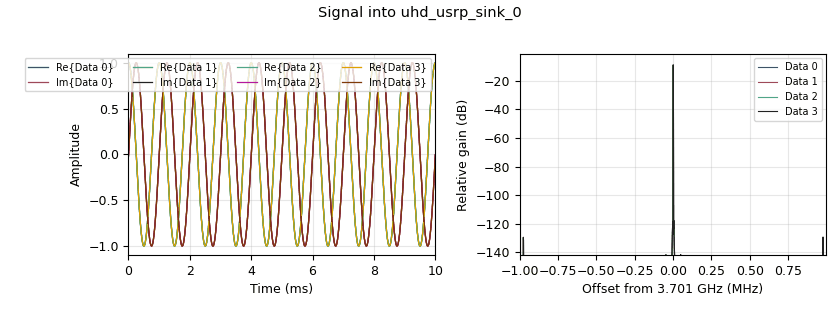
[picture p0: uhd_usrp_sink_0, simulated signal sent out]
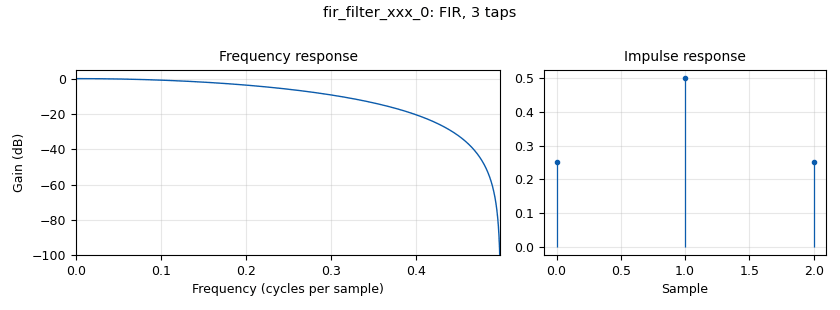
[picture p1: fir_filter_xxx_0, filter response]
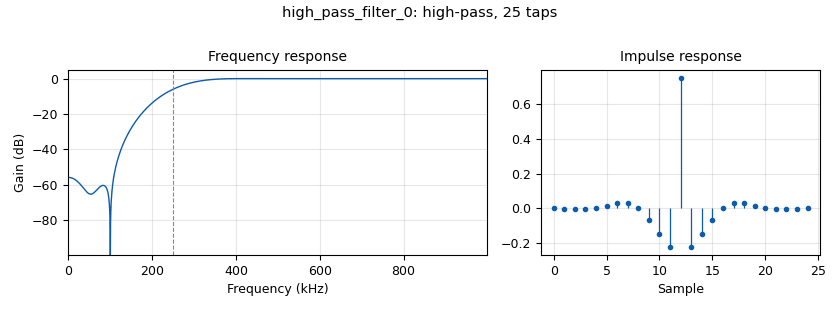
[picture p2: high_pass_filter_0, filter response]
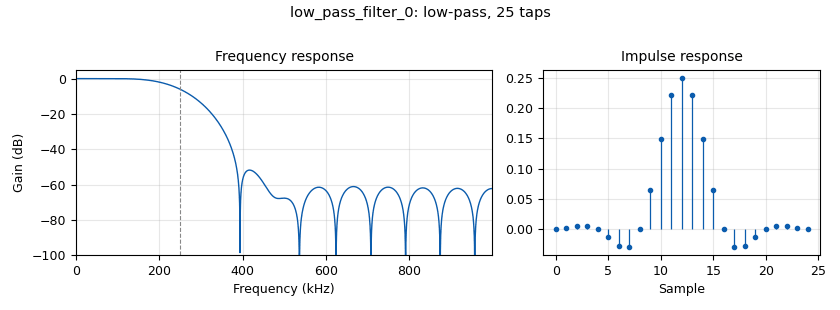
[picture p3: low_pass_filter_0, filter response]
<?xml version='1.0' encoding='utf-8'?>
<?grc format='1' created='3.7.10'?>
<flow_graph>
<block>
<key>options</key>
<param><key>id</key><value>top_block</value></param>
<param><key>generate_options</key><value>qt_gui</value></param>
</block>
<block>
<key>variable_qtgui_range</key>
<param><key>id</key><value>range_offset_01</value></param>
<param><key>value</key><value>0.9684</value></param>
<param><key>label</key><value>Offset 01</value></param>
<param><key>orient</key><value>Qt.Horizontal</value></param>
<param><key>start</key><value>-np.pi</value></param>
<param><key>step</key><value>0.001</value></param>
<param><key>stop</key><value>np.pi</value></param>
</block>
<block>
<key>variable_qtgui_range</key>
<param><key>id</key><value>range_offset_01_tx</value></param>
<param><key>value</key><value>0.9684</value></param>
<param><key>label</key><value>Offset 01</value></param>
<param><key>orient</key><value>Qt.Horizontal</value></param>
<param><key>start</key><value>-np.pi</value></param>
<param><key>step</key><value>0.001</value></param>
<param><key>stop</key><value>np.pi</value></param>
</block>
<block>
<key>variable_qtgui_range</key>
<param><key>id</key><value>range_offset_02</value></param>
<param><key>value</key><value>-1.0516</value></param>
<param><key>label</key><value>Offset 02</value></param>
<param><key>orient</key><value>Qt.Horizontal</value></param>
<param><key>start</key><value>-np.pi</value></param>
<param><key>step</key><value>0.001</value></param>
<param><key>stop</key><value>np.pi</value></param>
</block>
<block>
<key>variable_qtgui_range</key>
<param><key>id</key><value>range_offset_02_tx</value></param>
<param><key>value</key><value>-1.0516</value></param>
<param><key>label</key><value>Offset 02</value></param>
<param><key>orient</key><value>Qt.Horizontal</value></param>
<param><key>start</key><value>-np.pi</value></param>
<param><key>step</key><value>0.001</value></param>
<param><key>stop</key><value>np.pi</value></param>
</block>
<block>
<key>variable_qtgui_range</key>
<param><key>id</key><value>range_offset_03</value></param>
<param><key>value</key><value>-0.8816</value></param>
<param><key>label</key><value>Offset 03</value></param>
<param><key>orient</key><value>Qt.Horizontal</value></param>
<param><key>start</key><value>-np.pi</value></param>
<param><key>step</key><value>0.001</value></param>
<param><key>stop</key><value>np.pi</value></param>
</block>
<block>
<key>variable_qtgui_range</key>
<param><key>id</key><value>range_offset_03_tx</value></param>
<param><key>value</key><value>-0.8816</value></param>
<param><key>label</key><value>Offset 03</value></param>
<param><key>orient</key><value>Qt.Horizontal</value></param>
<param><key>start</key><value>-np.pi</value></param>
<param><key>step</key><value>0.001</value></param>
<param><key>stop</key><value>np.pi</value></param>
</block>
<block>
<key>variable</key>
<param><key>id</key><value>samp_rate</value></param>
<param><key>value</key><value>2e6</value></param>
</block>
<block>
<key>analog_sig_source_x</key>
<param><key>id</key><value>analog_sig_source_x_0</value></param>
<param><key>amp</key><value>1</value></param>
<param><key>freq</key><value>1000</value></param>
<param><key>offset</key><value>0</value></param>
<param><key>type</key><value>complex</value></param>
<param><key>samp_rate</key><value>samp_rate</value></param>
<param><key>waveform</key><value>analog.GR_COS_WAVE</value></param>
</block>
<block>
<key>blocks_add_const_vxx</key>
<param><key>id</key><value>blocks_add_const_vxx_0</value></param>
<param><key>const</key><value>range_offset_01</value></param>
<param><key>type</key><value>float</value></param>
</block>
<block>
<key>blocks_add_const_vxx</key>
<param><key>id</key><value>blocks_add_const_vxx_0_0</value></param>
<param><key>const</key><value>range_offset_01_tx</value></param>
<param><key>type</key><value>float</value></param>
</block>
<block>
<key>blocks_add_const_vxx</key>
<param><key>id</key><value>blocks_add_const_vxx_0_1</value></param>
<param><key>const</key><value>range_offset_03</value></param>
<param><key>type</key><value>float</value></param>
</block>
<block>
<key>blocks_add_const_vxx</key>
<param><key>id</key><value>blocks_add_const_vxx_0_1_0</value></param>
<param><key>const</key><value>range_offset_03_tx</value></param>
<param><key>type</key><value>float</value></param>
</block>
<block>
<key>blocks_add_const_vxx</key>
<param><key>id</key><value>blocks_add_const_vxx_0_2</value></param>
<param><key>const</key><value>range_offset_02</value></param>
<param><key>type</key><value>float</value></param>
</block>
<block>
<key>blocks_add_const_vxx</key>
<param><key>id</key><value>blocks_add_const_vxx_0_2_0</value></param>
<param><key>const</key><value>range_offset_02_tx</value></param>
<param><key>type</key><value>float</value></param>
</block>
<block>
<key>blocks_complex_to_arg</key>
<param><key>id</key><value>blocks_complex_to_arg_0</value></param>
</block>
<block>
<key>blocks_complex_to_arg</key>
<param><key>id</key><value>blocks_complex_to_arg_0_0</value></param>
</block>
<block>
<key>blocks_complex_to_arg</key>
<param><key>id</key><value>blocks_complex_to_arg_0_0_0</value></param>
</block>
<block>
<key>blocks_complex_to_arg</key>
<param><key>id</key><value>blocks_complex_to_arg_0_1</value></param>
</block>
<block>
<key>blocks_complex_to_arg</key>
<param><key>id</key><value>blocks_complex_to_arg_0_1_0</value></param>
</block>
<block>
<key>blocks_complex_to_arg</key>
<param><key>id</key><value>blocks_complex_to_arg_0_2</value></param>
</block>
<block>
<key>blocks_divide_xx</key>
<param><key>id</key><value>blocks_divide_xx_0</value></param>
<param><key>type</key><value>complex</value></param>
</block>
<block>
<key>blocks_divide_xx</key>
<param><key>id</key><value>blocks_divide_xx_0_0</value></param>
<param><key>type</key><value>complex</value></param>
</block>
<block>
<key>blocks_divide_xx</key>
<param><key>id</key><value>blocks_divide_xx_0_0_0</value></param>
<param><key>type</key><value>complex</value></param>
</block>
<block>
<key>blocks_divide_xx</key>
<param><key>id</key><value>blocks_divide_xx_0_1</value></param>
<param><key>type</key><value>complex</value></param>
</block>
<block>
<key>blocks_divide_xx</key>
<param><key>id</key><value>blocks_divide_xx_0_1_0</value></param>
<param><key>type</key><value>complex</value></param>
</block>
<block>
<key>blocks_divide_xx</key>
<param><key>id</key><value>blocks_divide_xx_0_2</value></param>
<param><key>type</key><value>complex</value></param>
</block>
<block>
<key>fir_filter_xxx</key>
<param><key>id</key><value>fir_filter_xxx_0</value></param>
<param><key>decim</key><value>1</value></param>
<param><key>taps</key><value>0.25, 0.5, 0.25</value></param>
<param><key>type</key><value>fff</value></param>
</block>
<block>
<key>fir_filter_xxx</key>
<param><key>id</key><value>fir_filter_xxx_0_0</value></param>
<param><key>decim</key><value>1</value></param>
<param><key>taps</key><value>0.25, 0.5, 0.25</value></param>
<param><key>type</key><value>fff</value></param>
</block>
<block>
<key>fir_filter_xxx</key>
<param><key>id</key><value>fir_filter_xxx_0_0_0</value></param>
<param><key>decim</key><value>1</value></param>
<param><key>taps</key><value>0.25, 0.5, 0.25</value></param>
<param><key>type</key><value>fff</value></param>
</block>
<block>
<key>fir_filter_xxx</key>
<param><key>id</key><value>fir_filter_xxx_0_1</value></param>
<param><key>decim</key><value>1</value></param>
<param><key>taps</key><value>0.25, 0.5, 0.25</value></param>
<param><key>type</key><value>fff</value></param>
</block>
<block>
<key>fir_filter_xxx</key>
<param><key>id</key><value>fir_filter_xxx_0_1_0</value></param>
<param><key>decim</key><value>1</value></param>
<param><key>taps</key><value>0.25, 0.5, 0.25</value></param>
<param><key>type</key><value>fff</value></param>
</block>
<block>
<key>fir_filter_xxx</key>
<param><key>id</key><value>fir_filter_xxx_0_2</value></param>
<param><key>decim</key><value>1</value></param>
<param><key>taps</key><value>0.25, 0.5, 0.25</value></param>
<param><key>type</key><value>fff</value></param>
</block>
<block>
<key>high_pass_filter</key>
<param><key>id</key><value>high_pass_filter_0</value></param>
<param><key>cutoff_freq</key><value>250e3</value></param>
<param><key>decim</key><value>1</value></param>
<param><key>type</key><value>fir_filter_ccf</value></param>
<param><key>gain</key><value>1</value></param>
<param><key>samp_rate</key><value>samp_rate</value></param>
<param><key>width</key><value>200e3</value></param>
<param><key>win</key><value>firdes.WIN_HAMMING</value></param>
</block>
<block>
<key>high_pass_filter</key>
<param><key>id</key><value>high_pass_filter_0_0</value></param>
<param><key>cutoff_freq</key><value>250e3</value></param>
<param><key>decim</key><value>1</value></param>
<param><key>type</key><value>fir_filter_ccf</value></param>
<param><key>gain</key><value>1</value></param>
<param><key>samp_rate</key><value>samp_rate</value></param>
<param><key>width</key><value>200e3</value></param>
<param><key>win</key><value>firdes.WIN_HAMMING</value></param>
</block>
<block>
<key>high_pass_filter</key>
<param><key>id</key><value>high_pass_filter_0_1</value></param>
<param><key>cutoff_freq</key><value>250e3</value></param>
<param><key>decim</key><value>1</value></param>
<param><key>type</key><value>fir_filter_ccf</value></param>
<param><key>gain</key><value>1</value></param>
<param><key>samp_rate</key><value>samp_rate</value></param>
<param><key>width</key><value>200e3</value></param>
<param><key>win</key><value>firdes.WIN_HAMMING</value></param>
</block>
<block>
<key>high_pass_filter</key>
<param><key>id</key><value>high_pass_filter_0_1_0</value></param>
<param><key>cutoff_freq</key><value>250e3</value></param>
<param><key>decim</key><value>1</value></param>
<param><key>type</key><value>fir_filter_ccf</value></param>
<param><key>gain</key><value>1</value></param>
<param><key>samp_rate</key><value>samp_rate</value></param>
<param><key>width</key><value>200e3</value></param>
<param><key>win</key><value>firdes.WIN_HAMMING</value></param>
</block>
<block>
<key>import</key>
<param><key>id</key><value>import_0</value></param>
<param><key>import</key><value>import numpy as np</value></param>
</block>
<block>
<key>low_pass_filter</key>
<param><key>id</key><value>low_pass_filter_0</value></param>
<param><key>cutoff_freq</key><value>250e3</value></param>
<param><key>decim</key><value>1</value></param>
<param><key>type</key><value>fir_filter_ccf</value></param>
<param><key>gain</key><value>1</value></param>
<param><key>samp_rate</key><value>samp_rate</value></param>
<param><key>width</key><value>200e3</value></param>
<param><key>win</key><value>firdes.WIN_HAMMING</value></param>
</block>
<block>
<key>low_pass_filter</key>
<param><key>id</key><value>low_pass_filter_0_0</value></param>
<param><key>cutoff_freq</key><value>250e3</value></param>
<param><key>decim</key><value>1</value></param>
<param><key>type</key><value>fir_filter_ccf</value></param>
<param><key>gain</key><value>1</value></param>
<param><key>samp_rate</key><value>samp_rate</value></param>
<param><key>width</key><value>200e3</value></param>
<param><key>win</key><value>firdes.WIN_HAMMING</value></param>
</block>
<block>
<key>low_pass_filter</key>
<param><key>id</key><value>low_pass_filter_0_1</value></param>
<param><key>cutoff_freq</key><value>250e3</value></param>
<param><key>decim</key><value>1</value></param>
<param><key>type</key><value>fir_filter_ccf</value></param>
<param><key>gain</key><value>1</value></param>
<param><key>samp_rate</key><value>samp_rate</value></param>
<param><key>width</key><value>200e3</value></param>
<param><key>win</key><value>firdes.WIN_HAMMING</value></param>
</block>
<block>
<key>low_pass_filter</key>
<param><key>id</key><value>low_pass_filter_0_2</value></param>
<param><key>cutoff_freq</key><value>250e3</value></param>
<param><key>decim</key><value>1</value></param>
<param><key>type</key><value>fir_filter_ccf</value></param>
<param><key>gain</key><value>1</value></param>
<param><key>samp_rate</key><value>samp_rate</value></param>
<param><key>width</key><value>200e3</value></param>
<param><key>win</key><value>firdes.WIN_HAMMING</value></param>
</block>
<block>
<key>qtgui_time_sink_x</key>
<param><key>id</key><value>qtgui_time_sink_x_0</value></param>
<param><key>ctrlpanel</key><value>True</value></param>
<param><key>grid</key><value>True</value></param>
<param><key>color1</key><value>"red"</value></param>
<param><key>label1</key><value>"01"</value></param>
<param><key>marker1</key><value>0</value></param>
<param><key>color2</key><value>"green"</value></param>
<param><key>label2</key><value>"02"</value></param>
<param><key>marker2</key><value>0</value></param>
<param><key>color3</key><value>"blue"</value></param>
<param><key>label3</key><value>"03"</value></param>
<param><key>marker3</key><value>0</value></param>
<param><key>nconnections</key><value>3</value></param>
<param><key>size</key><value>4096</value></param>
<param><key>srate</key><value>samp_rate</value></param>
<param><key>type</key><value>float</value></param>
</block>
<block>
<key>qtgui_time_sink_x</key>
<param><key>id</key><value>qtgui_time_sink_x_0_0</value></param>
<param><key>ctrlpanel</key><value>True</value></param>
<param><key>grid</key><value>True</value></param>
<param><key>color1</key><value>"red"</value></param>
<param><key>label1</key><value>"01"</value></param>
<param><key>marker1</key><value>0</value></param>
<param><key>color2</key><value>"green"</value></param>
<param><key>label2</key><value>"02"</value></param>
<param><key>marker2</key><value>0</value></param>
<param><key>color3</key><value>"blue"</value></param>
<param><key>label3</key><value>"03"</value></param>
<param><key>marker3</key><value>0</value></param>
<param><key>nconnections</key><value>3</value></param>
<param><key>size</key><value>4096</value></param>
<param><key>srate</key><value>samp_rate</value></param>
<param><key>type</key><value>float</value></param>
</block>
<block>
<key>uhd_usrp_sink</key>
<param><key>id</key><value>uhd_usrp_sink_0</value></param>
<param><key>ant0</key><value></value></param>
<param><key>center_freq0</key><value>3.701e9</value></param>
<param><key>norm_gain0</key><value>False</value></param>
<param><key>gain0</key><value>15</value></param>
<param><key>ant1</key><value></value></param>
<param><key>center_freq1</key><value>3.701e9</value></param>
<param><key>norm_gain1</key><value>False</value></param>
<param><key>gain1</key><value>15</value></param>
<param><key>ant2</key><value></value></param>
<param><key>center_freq2</key><value>3.701e9</value></param>
<param><key>norm_gain2</key><value>False</value></param>
<param><key>gain2</key><value>15</value></param>
<param><key>ant3</key><value></value></param>
<param><key>center_freq3</key><value>3.701e9</value></param>
<param><key>norm_gain3</key><value>False</value></param>
<param><key>gain3</key><value>15</value></param>
<param><key>clock_rate</key><value>200e6</value></param>
<param><key>dev_addr</key><value>"addr0=192.168.10.2, addr1=192.168.10.3"</value></param>
<param><key>dev_args</key><value>""</value></param>
<param><key>type</key><value>fc32</value></param>
<param><key>clock_source0</key><value>external</value></param>
<param><key>sd_spec0</key><value>A:0 B:0</value></param>
<param><key>time_source0</key><value>external</value></param>
<param><key>clock_source1</key><value>external</value></param>
<param><key>sd_spec1</key><value>A:0 B:0</value></param>
<param><key>time_source1</key><value>external</value></param>
<param><key>nchan</key><value>4</value></param>
<param><key>num_mboards</key><value>2</value></param>
<param><key>samp_rate</key><value>samp_rate</value></param>
<param><key>hide_cmd_port</key><value>False</value></param>
<param><key>hide_lo_controls</key><value>True</value></param>
<param><key>sync</key><value>sync</value></param>
<param><key>len_tag_name</key><value></value></param>
</block>
<block>
<key>uhd_usrp_source</key>
<param><key>id</key><value>uhd_usrp_source_0</value></param>
<param><key>ant0</key><value></value></param>
<param><key>center_freq0</key><value>3.7e9</value></param>
<param><key>dc_offs_enb0</key><value>""</value></param>
<param><key>iq_imbal_enb0</key><value>""</value></param>
<param><key>norm_gain0</key><value>False</value></param>
<param><key>gain0</key><value>15</value></param>
<param><key>ant1</key><value></value></param>
<param><key>center_freq1</key><value>3.7e9</value></param>
<param><key>dc_offs_enb1</key><value>""</value></param>
<param><key>iq_imbal_enb1</key><value>""</value></param>
<param><key>norm_gain1</key><value>False</value></param>
<param><key>gain1</key><value>15</value></param>
<param><key>ant2</key><value></value></param>
<param><key>center_freq2</key><value>3.7e9</value></param>
<param><key>dc_offs_enb2</key><value>""</value></param>
<param><key>iq_imbal_enb2</key><value>""</value></param>
<param><key>norm_gain2</key><value>False</value></param>
<param><key>gain2</key><value>15</value></param>
<param><key>ant3</key><value></value></param>
<param><key>center_freq3</key><value>3.7e9</value></param>
<param><key>dc_offs_enb3</key><value>""</value></param>
<param><key>iq_imbal_enb3</key><value>""</value></param>
<param><key>norm_gain3</key><value>False</value></param>
<param><key>gain3</key><value>15</value></param>
<param><key>clock_rate</key><value>200e6</value></param>
<param><key>dev_addr</key><value>"addr0=192.168.10.2, addr1=192.168.10.3"</value></param>
<param><key>clock_source0</key><value>external</value></param>
<param><key>sd_spec0</key><value>"A:0 B:0"</value></param>
<param><key>time_source0</key><value>external</value></param>
<param><key>clock_source1</key><value>external</value></param>
<param><key>sd_spec1</key><value>"A:0 B:0"</value></param>
<param><key>time_source1</key><value>external</value></param>
<param><key>nchan</key><value>4</value></param>
<param><key>num_mboards</key><value>2</value></param>
<param><key>type</key><value>fc32</value></param>
<param><key>samp_rate</key><value>samp_rate</value></param>
<param><key>hide_cmd_port</key><value>False</value></param>
<param><key>hide_lo_controls</key><value>True</value></param>
<param><key>sync</key><value>sync</value></param>
</block>
<connection><source_block_id>analog_sig_source_x_0</source_block_id><sink_block_id>uhd_usrp_sink_0</sink_block_id><source_key>0</source_key><sink_key>0</sink_key></connection>
<connection><source_block_id>analog_sig_source_x_0</source_block_id><sink_block_id>uhd_usrp_sink_0</sink_block_id><source_key>0</source_key><sink_key>1</sink_key></connection>
<connection><source_block_id>analog_sig_source_x_0</source_block_id><sink_block_id>uhd_usrp_sink_0</sink_block_id><source_key>0</source_key><sink_key>2</sink_key></connection>
<connection><source_block_id>analog_sig_source_x_0</source_block_id><sink_block_id>uhd_usrp_sink_0</sink_block_id><source_key>0</source_key><sink_key>3</sink_key></connection>
<connection><source_block_id>blocks_add_const_vxx_0</source_block_id><sink_block_id>qtgui_time_sink_x_0</sink_block_id><source_key>0</source_key><sink_key>0</sink_key></connection>
<connection><source_block_id>blocks_add_const_vxx_0_0</source_block_id><sink_block_id>qtgui_time_sink_x_0_0</sink_block_id><source_key>0</source_key><sink_key>0</sink_key></connection>
<connection><source_block_id>blocks_add_const_vxx_0_1</source_block_id><sink_block_id>qtgui_time_sink_x_0</sink_block_id><source_key>0</source_key><sink_key>2</sink_key></connection>
<connection><source_block_id>blocks_add_const_vxx_0_1_0</source_block_id><sink_block_id>qtgui_time_sink_x_0_0</sink_block_id><source_key>0</source_key><sink_key>2</sink_key></connection>
<connection><source_block_id>blocks_add_const_vxx_0_2</source_block_id><sink_block_id>qtgui_time_sink_x_0</sink_block_id><source_key>0</source_key><sink_key>1</sink_key></connection>
<connection><source_block_id>blocks_add_const_vxx_0_2_0</source_block_id><sink_block_id>qtgui_time_sink_x_0_0</sink_block_id><source_key>0</source_key><sink_key>1</sink_key></connection>
<connection><source_block_id>blocks_complex_to_arg_0</source_block_id><sink_block_id>fir_filter_xxx_0</sink_block_id><source_key>0</source_key><sink_key>0</sink_key></connection>
<connection><source_block_id>blocks_complex_to_arg_0_0</source_block_id><sink_block_id>fir_filter_xxx_0_1</sink_block_id><source_key>0</source_key><sink_key>0</sink_key></connection>
<connection><source_block_id>blocks_complex_to_arg_0_0_0</source_block_id><sink_block_id>fir_filter_xxx_0_1_0</sink_block_id><source_key>0</source_key><sink_key>0</sink_key></connection>
<connection><source_block_id>blocks_complex_to_arg_0_1</source_block_id><sink_block_id>fir_filter_xxx_0_0</sink_block_id><source_key>0</source_key><sink_key>0</sink_key></connection>
<connection><source_block_id>blocks_complex_to_arg_0_1_0</source_block_id><sink_block_id>fir_filter_xxx_0_0_0</sink_block_id><source_key>0</source_key><sink_key>0</sink_key></connection>
<connection><source_block_id>blocks_complex_to_arg_0_2</source_block_id><sink_block_id>fir_filter_xxx_0_2</sink_block_id><source_key>0</source_key><sink_key>0</sink_key></connection>
<connection><source_block_id>blocks_divide_xx_0</source_block_id><sink_block_id>blocks_complex_to_arg_0</sink_block_id><source_key>0</source_key><sink_key>0</sink_key></connection>
<connection><source_block_id>blocks_divide_xx_0_0</source_block_id><sink_block_id>blocks_complex_to_arg_0_0</sink_block_id><source_key>0</source_key><sink_key>0</sink_key></connection>
<connection><source_block_id>blocks_divide_xx_0_0_0</source_block_id><sink_block_id>blocks_complex_to_arg_0_0_0</sink_block_id><source_key>0</source_key><sink_key>0</sink_key></connection>
<connection><source_block_id>blocks_divide_xx_0_1</source_block_id><sink_block_id>blocks_complex_to_arg_0_1</sink_block_id><source_key>0</source_key><sink_key>0</sink_key></connection>
<connection><source_block_id>blocks_divide_xx_0_1_0</source_block_id><sink_block_id>blocks_complex_to_arg_0_1_0</sink_block_id><source_key>0</source_key><sink_key>0</sink_key></connection>
<connection><source_block_id>blocks_divide_xx_0_2</source_block_id><sink_block_id>blocks_complex_to_arg_0_2</sink_block_id><source_key>0</source_key><sink_key>0</sink_key></connection>
<connection><source_block_id>fir_filter_xxx_0</source_block_id><sink_block_id>blocks_add_const_vxx_0</sink_block_id><source_key>0</source_key><sink_key>0</sink_key></connection>
<connection><source_block_id>fir_filter_xxx_0_0</source_block_id><sink_block_id>blocks_add_const_vxx_0_2</sink_block_id><source_key>0</source_key><sink_key>0</sink_key></connection>
<connection><source_block_id>fir_filter_xxx_0_0_0</source_block_id><sink_block_id>blocks_add_const_vxx_0_2_0</sink_block_id><source_key>0</source_key><sink_key>0</sink_key></connection>
<connection><source_block_id>fir_filter_xxx_0_1</source_block_id><sink_block_id>blocks_add_const_vxx_0_1</sink_block_id><source_key>0</source_key><sink_key>0</sink_key></connection>
<connection><source_block_id>fir_filter_xxx_0_1_0</source_block_id><sink_block_id>blocks_add_const_vxx_0_1_0</sink_block_id><source_key>0</source_key><sink_key>0</sink_key></connection>
<connection><source_block_id>fir_filter_xxx_0_2</source_block_id><sink_block_id>blocks_add_const_vxx_0_0</sink_block_id><source_key>0</source_key><sink_key>0</sink_key></connection>
<connection><source_block_id>high_pass_filter_0</source_block_id><sink_block_id>blocks_divide_xx_0_0_0</sink_block_id><source_key>0</source_key><sink_key>0</sink_key></connection>
<connection><source_block_id>high_pass_filter_0</source_block_id><sink_block_id>blocks_divide_xx_0_1_0</sink_block_id><source_key>0</source_key><sink_key>0</sink_key></connection>
<connection><source_block_id>high_pass_filter_0</source_block_id><sink_block_id>blocks_divide_xx_0_2</sink_block_id><source_key>0</source_key><sink_key>0</sink_key></connection>
<connection><source_block_id>high_pass_filter_0_0</source_block_id><sink_block_id>blocks_divide_xx_0_2</sink_block_id><source_key>0</source_key><sink_key>1</sink_key></connection>
<connection><source_block_id>high_pass_filter_0_1</source_block_id><sink_block_id>blocks_divide_xx_0_1_0</sink_block_id><source_key>0</source_key><sink_key>1</sink_key></connection>
<connection><source_block_id>high_pass_filter_0_1_0</source_block_id><sink_block_id>blocks_divide_xx_0_0_0</sink_block_id><source_key>0</source_key><sink_key>1</sink_key></connection>
<connection><source_block_id>low_pass_filter_0</source_block_id><sink_block_id>blocks_divide_xx_0</sink_block_id><source_key>0</source_key><sink_key>0</sink_key></connection>
<connection><source_block_id>low_pass_filter_0</source_block_id><sink_block_id>blocks_divide_xx_0_0</sink_block_id><source_key>0</source_key><sink_key>0</sink_key></connection>
<connection><source_block_id>low_pass_filter_0</source_block_id><sink_block_id>blocks_divide_xx_0_1</sink_block_id><source_key>0</source_key><sink_key>0</sink_key></connection>
<connection><source_block_id>low_pass_filter_0_0</source_block_id><sink_block_id>blocks_divide_xx_0</sink_block_id><source_key>0</source_key><sink_key>1</sink_key></connection>
<connection><source_block_id>low_pass_filter_0_1</source_block_id><sink_block_id>blocks_divide_xx_0_1</sink_block_id><source_key>0</source_key><sink_key>1</sink_key></connection>
<connection><source_block_id>low_pass_filter_0_2</source_block_id><sink_block_id>blocks_divide_xx_0_0</sink_block_id><source_key>0</source_key><sink_key>1</sink_key></connection>
<connection><source_block_id>uhd_usrp_source_0</source_block_id><sink_block_id>high_pass_filter_0</sink_block_id><source_key>0</source_key><sink_key>0</sink_key></connection>
<connection><source_block_id>uhd_usrp_source_0</source_block_id><sink_block_id>low_pass_filter_0</sink_block_id><source_key>0</source_key><sink_key>0</sink_key></connection>
<connection><source_block_id>uhd_usrp_source_0</source_block_id><sink_block_id>high_pass_filter_0_0</sink_block_id><source_key>1</source_key><sink_key>0</sink_key></connection>
<connection><source_block_id>uhd_usrp_source_0</source_block_id><sink_block_id>low_pass_filter_0_0</sink_block_id><source_key>1</source_key><sink_key>0</sink_key></connection>
<connection><source_block_id>uhd_usrp_source_0</source_block_id><sink_block_id>high_pass_filter_0_1</sink_block_id><source_key>2</source_key><sink_key>0</sink_key></connection>
<connection><source_block_id>uhd_usrp_source_0</source_block_id><sink_block_id>low_pass_filter_0_1</sink_block_id><source_key>2</source_key><sink_key>0</sink_key></connection>
<connection><source_block_id>uhd_usrp_source_0</source_block_id><sink_block_id>high_pass_filter_0_1_0</sink_block_id><source_key>3</source_key><sink_key>0</sink_key></connection>
<connection><source_block_id>uhd_usrp_source_0</source_block_id><sink_block_id>low_pass_filter_0_2</sink_block_id><source_key>3</source_key><sink_key>0</sink_key></connection>
</flow_graph>
